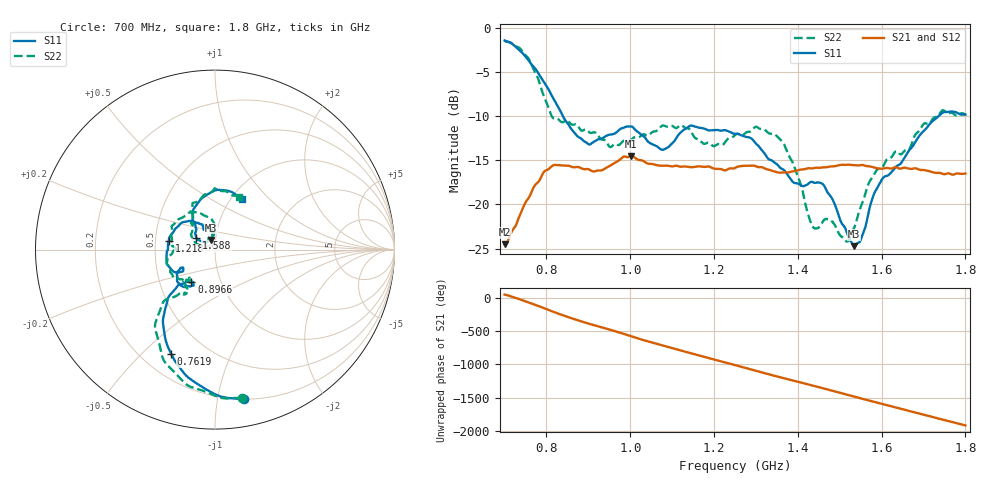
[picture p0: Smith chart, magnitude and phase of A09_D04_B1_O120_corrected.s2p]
! Created with skrf 1.9.0 (http://scikit-rf.org).
# Hz S RI R 50.0
!freq ReS11 ImS11 ReS21 ImS21 ReS12 ImS12 ReS22 ImS22
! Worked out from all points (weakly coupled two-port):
!   1601 points, 700 MHz to 1.8 GHz, reference 50 ohm
!   highest |S21| = -14.54 dB at 1.002 GHz (marker M1); lowest = -24.5 dB at 701.4 MHz (marker M2)
!   lowest |S11| = -24.7 dB at 1.535 GHz (marker M3), VSWR 1.12, Z = 47.4 + j5.04 ohm
!   |S11| at or under -10 dB: 839.1 MHz to 1.736 GHz (896.7 MHz wide, 69.7 % of centre)
!   |S22| runs from -24.2 to -1.5 dB; largest |S21 - S12| = 0.0034
!   S11 on the Smith chart (normalised r, x): 700 MHz: 0.20, -1.19; 761.9 MHz: 0.32, -0.62; 896.6 MHz: 0.72, -0.27; 1.218 GHz: 0.59, +0.06; 1.588 GHz: 0.81, +0.11; 1.8 GHz: 1.12, +0.71
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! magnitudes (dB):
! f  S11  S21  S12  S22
! 700 MHz  -1.4  -24.5  -24.3  -1.5
! 701.4 MHz  -1.5  -24.5  -24.2  -1.5
! 761.9 MHz  -4.0  -18.9  -18.8  -3.9
! 814.1 MHz  -7.8  -15.6  -15.7  -10.1
! 883.6 MHz  -12.6  -15.9  -15.8  -11.6
! 896.6 MHz  -13.0  -16.0  -16.1  -11.6
! 952.3 MHz  -12.1  -15.6  -15.6  -13.5
! 1.002 GHz  -11.2  -14.5  -14.6  -12.7
! 1.067 GHz  -13.6  -15.6  -15.5  -11.5
! 1.143 GHz  -11.1  -15.8  -15.8  -11.6
! 1.218 GHz  -11.6  -16.0  -16.1  -13.3
! 1.25 GHz  -12.0  -15.9  -15.8  -12.1
! 1.361 GHz  -15.9  -16.4  -16.4  -12.8
! 1.434 GHz  -17.4  -15.9  -15.9  -22.4
! 1.463 GHz  -17.9  -15.8  -15.8  -21.7
! 1.516 GHz  -23.0  -15.5  -15.5  -24.2
! 1.535 GHz  -24.7  -15.6  -15.6  -22.6
! 1.554 GHz  -23.5  -15.5  -15.6  -19.8
! 1.588 GHz  -18.2  -15.9  -15.9  -16.1
! 1.617 GHz  -16.7  -15.9  -15.9  -14.8
! 1.741 GHz  -9.8  -16.5  -16.4  -9.6
! 1.8 GHz  -9.8  -16.5  -16.5  -9.9
